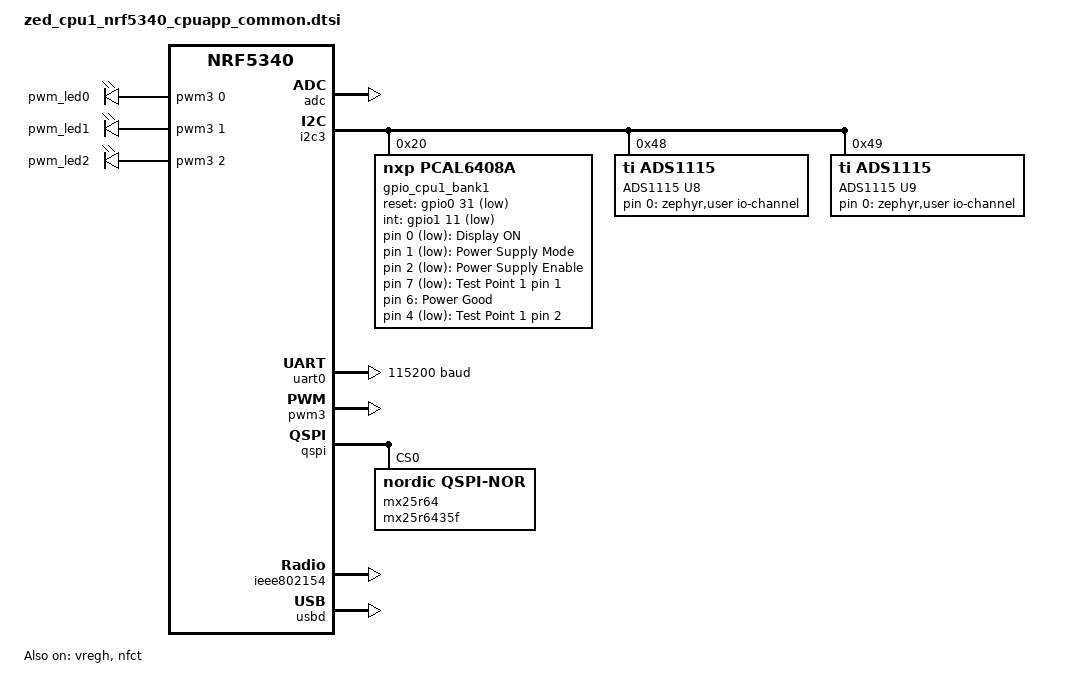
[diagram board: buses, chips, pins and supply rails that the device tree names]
/*
 * Copyright (c) 2019-2020 Nordic Semiconductor ASA
 *
 * SPDX-License-Identifier: Apache-2.0
 */
#include "zed_cpu1_nrf5340_common.dtsi"
#include "zed_cpu1_nrf5340_cpuapp_common-pinctrl.dtsi"
#include "zed_cpu1_nrf5340_con.dtsi"
#include <zephyr/dt-bindings/input/input-event-codes.h>

/ {

	chosen {
		zephyr,console = &uart0;
		zephyr,shell-uart = &uart0;
		zephyr,uart-mcumgr = &uart0;
		zephyr,bt-mon-uart = &uart0;
		zephyr,bt-c2h-uart = &uart0;
		zephyr,bt-hci = &bt_hci_ipc0;
		nordic,802154-spinel-ipc = &ipc0;
		zephyr,ieee802154 = &ieee802154;
	};

	pwmleds {
		compatible = "pwm-leds";

		pwm_led0: pwm_led_0 {
			pwms = <&pwm3 0 PWM_MSEC(20) PWM_POLARITY_INVERTED>;
		};
		pwm_led1: pwm_led_1 {
			pwms = <&pwm3 1 PWM_MSEC(20) PWM_POLARITY_INVERTED>;
		};
		pwm_led2: pwm_led_2 {
			pwms = <&pwm3 2 PWM_MSEC(20) PWM_POLARITY_INVERTED>;
		};
	};

/*	gpio_fwd: nrf-gpio-forwarder {
		compatible = "nordic,nrf-gpio-forwarder";
		status = "okay";

		uart {
			gpios = <&gpio1 1 0>, <&gpio1 0 0>, <&gpio0 11 0>, <&gpio0 10 0>;
		};
	};
*/
	/* These aliases are provided for compatibility with samples */
	aliases {
		red-pwm-led = &pwm_led0;
		green-pwm-led = &pwm_led1;
		blue-pwm-led = &pwm_led2;
		watchdog0 = &wdt0;
	};
};

&vregmain {
	regulator-initial-mode = <NRF5X_REG_MODE_DCDC>;
};

&vregradio {
	regulator-initial-mode = <NRF5X_REG_MODE_DCDC>;
};

&vregh {
	status = "okay";
};

&lfxo {
	load-capacitors = "internal";
	load-capacitance-picofarad = <7>;
};

&adc {
	status = "okay";
};

&nfct {
	status = "okay";
};

&gpiote {
	status = "okay";
};

&gpio0 {
	status = "okay";
};

&gpio1 {
	status = "okay";
};

&i2c3 {
	compatible = "nordic,nrf-twim";
	status = "okay";
	pinctrl-0 = <&i2c3_default>;
	pinctrl-1 = <&i2c3_sleep>;
	pinctrl-names = "default", "sleep";
	gpio_cpu1_bank1: pcal6408a@20 {
		compatible = "nxp,pcal6408a";
		status = "okay";
		reg = <0x20>;
		gpio-controller;
		#gpio-cells = <2>;
		ngpios = <8>;
		reset-gpios = <&gpio0 31 (GPIO_ACTIVE_LOW | GPIO_PULL_UP)>;
		int-gpios = <&gpio1 11 (GPIO_ACTIVE_LOW | GPIO_PULL_UP)>;
		gpio-line-names =
			"DISPON",
			"PSMODE",
			"PSEN",
			"PGOOD",
			"TP1-1",
			"ALERT1",
			"ALERT2",
			"TP1-2";
	};
	cpu1_adc0: ads1115@48 {
		status = "okay";
		compatible = "ti,ads1115";
		reg = <0x48>;
//		alert-rdy-gpios = <&gpio_cpu1_bank1 5 (GPIO_ACTIVE_HIGH | GPIO_PULL_UP)>;
		label = "ADS1115 U8";
		#io-channel-cells = <1>;
		#address-cells = <1>;
		#size-cells = <0>;
		/* internally this ADC only has one converter, to select */
		/*  different pins, we need to set the MUX infront of the converter */
		channel@0 {
			reg = <0>;
			zephyr,gain = "ADC_GAIN_1_2"; /* gain of 1/2 */
			zephyr,reference = "ADC_REF_INTERNAL";
			zephyr,acquisition-time = <ADC_ACQ_TIME_DEFAULT>;
			zephyr,resolution = < 15 >;
		};
	};
	cpu1_adc1: ads1115@49 {
		status = "okay";
		compatible = "ti,ads1115";
		reg = <0x49>;
//		alert-rdy-gpios = <&gpio_cpu1_bank1 6 (GPIO_ACTIVE_HIGH | GPIO_PULL_UP)>;
		label = "ADS1115 U9";
		#io-channel-cells = <1>;
		#address-cells = <1>;
		#size-cells = <0>;
		/* internally this ADC only has one converter, to select */
		/*  different pins, we need to set the MUX infront of the converter */
		channel@0 {
			reg = <0>;
			zephyr,gain = "ADC_GAIN_1_2"; /* gain of 1/2 */
			zephyr,reference = "ADC_REF_INTERNAL";
			zephyr,acquisition-time = <ADC_ACQ_TIME_DEFAULT>;
			zephyr,resolution = < 15 >;
		};
	};
};

/ {
	zephyr,user {
		/* adjust channel number according to pinmux in board.dts */
		io-channels = <&cpu1_adc0 0>, <&cpu1_adc1 0>;
	};
};


/*&i2c1 {
	compatible = "nordic,nrf-twim";
	status = "okay";
	pinctrl-0 = <&i2c1_default>;
	pinctrl-1 = <&i2c1_sleep>;
	pinctrl-names = "default", "sleep";
	zephyr,concat-buf-size = <512>;
}; */

/{
	u1_outputs	{
		compatible = "gpio-leds";
		output_dispon: d0 {
			gpios = <&gpio_cpu1_bank1 0 GPIO_ACTIVE_LOW>;
			label = "Display ON";
		};
		output_psmode: d1 {
			gpios = <&gpio_cpu1_bank1 1 GPIO_ACTIVE_LOW>;
			label = "Power Supply Mode";
		};
		output_psen: d2 {
			gpios = <&gpio_cpu1_bank1 2 GPIO_ACTIVE_LOW>;
			label = "Power Supply Enable";
		};
/*		output_tp1_2: d4 {
			gpios = <&gpio_cpu1_bank1 4 GPIO_ACTIVE_LOW>;
			label = "Test Point 1 pin 2";
		}; */
		output_tp1_1: d7 {
			gpios = <&gpio_cpu1_bank1 7 GPIO_ACTIVE_LOW>;
			label = "Test Point 1 pin 1";
		};
	};
// this button is in zed_cpu1_nrf5340_common.dtsi
/* 	cpu1_inputs {
		compatible = "gpio-keys";
		status = "okay";
		input_user: d8 {
			gpios = <&gpio0 23 (GPIO_ACTIVE_LOW | GPIO_PULLUP)>;
			label = "USER Button";
			zephyr,code = <INPUT_BTN_0>;
		};
	}; */
        u1_inputs {
		compatible = "gpio-keys";

		input_pgood: d3 {
			gpios = <&gpio_cpu1_bank1 6 GPIO_ACTIVE_HIGH>;
			label = "Power Good";
			zephyr,code = <INPUT_EV_DEVICE>;
		};
		input_tp1_2: d4 {
			gpios = <&gpio_cpu1_bank1 4 (GPIO_ACTIVE_LOW | GPIO_PULL_UP)>;
			label = "Test Point 1 pin 2";
			zephyr,code = <INPUT_EV_MSC>;
		};
/* adc1_alert gets defined in the ads1115 section above */
/*		input_adc1_alert: d5 {
			gpios = <&gpio_cpu1_bank1 5 (GPIO_ACTIVE_LOW | GPIO_PULLUP)>;
			label = "ADC1 Ready";
		}; */
/* adc2_alert gets defined in the ads1115 section above */
/*		input_adc2_alert: d6 {
			gpios = <&gpio_cpu1_bank1 6 (GPIO_ACTIVE_LOW | GPIO_PULLUP)>;
			label = "ADC2 Ready";
		}; */
/*		input_tp1_1: d7 {
			gpios = <&gpio_cpu1_bank1 7 (GPIO_ACTIVE_HIGH | GPIO_PULLUP)>;
			label = "Test Point 1 pin 1";
		}; */
       };
	aliases {
		outputdispon = &output_dispon;
		outputpsmode = &output_psmode;
		outputpsen = &output_psen;
		outputtp11 = &output_tp1_1;
		inputpgood = &input_pgood;
/*		inputalert1 = &input_adc1_alert;
		inputalert2 = &input_adc2_alert;
		outputtp12 = &output_tp1_2; */
		inputtp12 = &input_tp1_2;
		inputuser = &button0;
	};
};

&uicr {
        nfct-pins-as-gpios;
        /* gpio-as-nreset; */
};

&uart0 { /* to debug connector */
	status = "okay";
	current-speed = <115200>;
	pinctrl-0 = <&uart0_default>;
	pinctrl-1 = <&uart0_sleep>;
	pinctrl-names = "default", "sleep";
};

&pwm3 {
	status = "okay";
	pinctrl-0 = <&pwm3_default>;
	pinctrl-1 = <&pwm3_sleep>;
	pinctrl-names = "default", "sleep";
};

&qspi {
	status = "okay";
	pinctrl-0 = <&qspi_default>;
	pinctrl-1 = <&qspi_sleep>;
	pinctrl-names = "default", "sleep";

	mx25r64: mx25r6435f@0 {
		compatible = "nordic,qspi-nor";
		reg = <0>;
		/* MX25R64 supports only pp and pp4io */
		writeoc = "pp4io";
		/* MX25R64 supports all readoc options */
		readoc = "read4io";
		sck-frequency = <8000000>;
		jedec-id = [c2 28 17];
		sfdp-bfp = [
			e5 20 f1 ff  ff ff ff 03  44 eb 08 6b  08 3b 04 bb
			ee ff ff ff  ff ff 00 ff  ff ff 00 ff  0c 20 0f 52
			10 d8 00 ff  23 72 f5 00  82 ed 04 cc  44 83 68 44
			30 b0 30 b0  f7 c4 d5 5c  00 be 29 ff  f0 d0 ff ff
		];
		size = <67108864>;
		has-dpd;
		t-enter-dpd = <10000>;
		t-exit-dpd = <35000>;
	};
};

&ieee802154 {
	status = "okay";
};

zephyr_udc0: &usbd {
	compatible = "nordic,nrf-usbd";
	status = "okay";
};

/* Include default memory partition configuration file */
#include <nordic/nrf5340_cpuapp_partition.dtsi>
